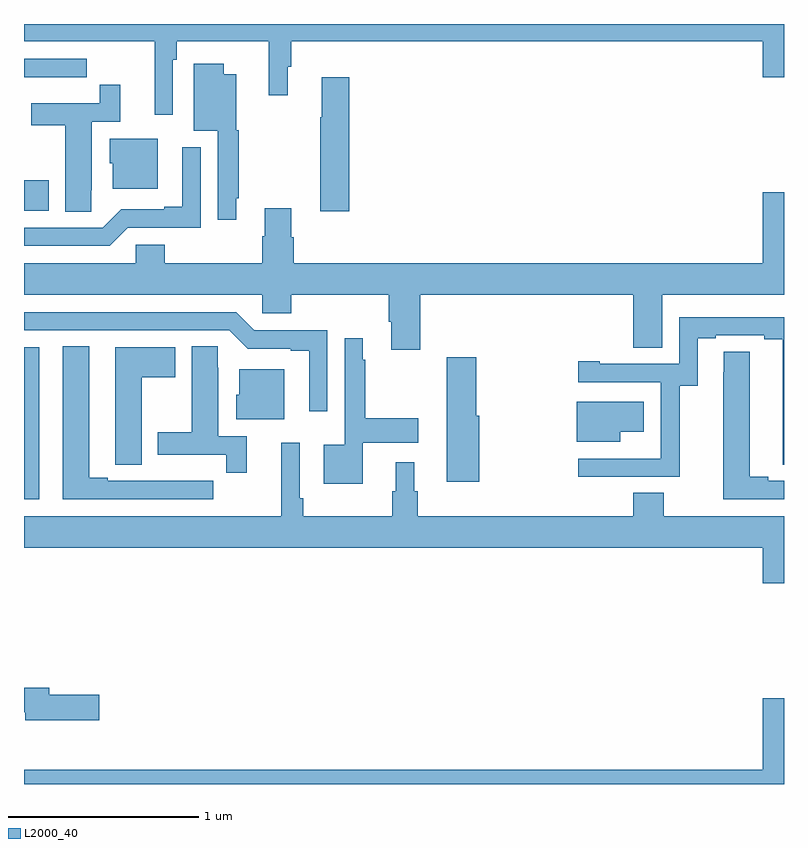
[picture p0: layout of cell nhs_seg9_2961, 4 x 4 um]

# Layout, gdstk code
import gdstk
lib = gdstk.Library(unit=1e-6, precision=1e-09)
def R(c, l, rs):  # rectangles x0, y0, x1, y1
    for r in rs: c.add(gdstk.rectangle(r[:2], r[2:], *l))
def P(c, l, *ps):  # polygons
    for p in ps: c.add(gdstk.Polygon(p, *l))
L2000_40 = (2000, 40)

nhs_seg9_2961 = lib.new_cell('nhs_seg9_2961')
R(nhs_seg9_2961, L2000_40, [(281,1206,281.08,1206.798), (281,1207.517,281.131,1207.677)])
P(nhs_seg9_2961, L2000_40, [(281.784,1208.312),(281.804,1208.312),(281.804,1208.408),(282.289,1208.408),(282.289,1208.124),(282.388,1208.124),(282.388,1208.274),(282.407,1208.274),(282.407,1208.408),(284.888,1208.408),(284.888,1208.22),(285,1208.22),(285,1208.5),(281,1208.5),(281,1208.408),(281.687,1208.408),(281.687,1208.022),(281.784,1208.022)],
  [(281.216,1208.22),(281.329,1208.22),(281.329,1208.316),(281,1208.316),(281,1208.22),(281.05,1208.22),(281.05,1208.219),(281.216,1208.219)],
  [(282.118,1207.582),(282.13,1207.582),(282.13,1207.941),(282.118,1207.941),(282.118,1208.236),(282.052,1208.236),(282.052,1208.29),(281.894,1208.29),(281.894,1207.937),(282.021,1207.937),(282.021,1207.47),(282.118,1207.47)],
  [(282.713,1208.221),(282.566,1208.221),(282.566,1208.008),(282.559,1208.008),(282.559,1207.515),(282.713,1207.515)],
  [(281.355,1207.624),(281.356,1207.624),(281.356,1207.986),(281.507,1207.986),(281.507,1208.179),(281.398,1208.179),(281.398,1208.082),(281.039,1208.082),(281.039,1207.966),(281.216,1207.966),(281.216,1207.513),(281.355,1207.513)],
  [(281.704,1207.897),(281.45,1207.897),(281.45,1207.767),(281.468,1207.767),(281.468,1207.634),(281.704,1207.634)],
  [(281.547,1207.428),(281.931,1207.428),(281.931,1207.852),(281.834,1207.852),(281.834,1207.537),(281.738,1207.537),(281.738,1207.524),(281.511,1207.524),(281.415,1207.428),(281,1207.428),(281,1207.332),(281.451,1207.332)],
  [(283.085,1207.076),(284.207,1207.076),(284.207,1206.796),(284.359,1206.796),(284.359,1207.076),(285,1207.076),(285,1207.615),(284.888,1207.615),(284.888,1207.24),(282.419,1207.24),(282.419,1207.377),(282.406,1207.377),(282.406,1207.531),(282.266,1207.531),(282.266,1207.382),(282.254,1207.382),(282.254,1207.24),(281.741,1207.24),(281.741,1207.338),(281.589,1207.338),(281.589,1207.24),(281,1207.24),(281,1207.076),(282.255,1207.076),(282.255,1206.978),(282.407,1206.978),(282.407,1207.076),(282.92,1207.076),(282.92,1206.934),(282.932,1206.934),(282.932,1206.786),(283.085,1206.786)],
  [(282.597,1206.888),(282.213,1206.888),(282.117,1206.984),(281,1206.984),(281,1206.888),(282.081,1206.888),(282.177,1206.792),(282.404,1206.792),(282.404,1206.78),(282.5,1206.78),(282.5,1206.462),(282.597,1206.462)],
  [(284.451,1206.595),(284.545,1206.595),(284.545,1206.846),(284.641,1206.846),(284.641,1206.861),(284.897,1206.861),(284.897,1206.841),(284.993,1206.841),(284.993,1206.181),(285,1206.181),(285,1206.957),(284.448,1206.957),(284.448,1206.711),(284.029,1206.711),(284.029,1206.724),(283.917,1206.724),(283.917,1206.615),(284.352,1206.615),(284.352,1206.214),(284.351,1206.214),(284.351,1206.213),(283.917,1206.213),(283.917,1206.117),(284.451,1206.117)],
  [(282.784,1206.296),(283.075,1206.296),(283.075,1206.426),(282.796,1206.426),(282.796,1206.734),(282.784,1206.734),(282.784,1206.847),(282.687,1206.847),(282.687,1206.286),(282.578,1206.286),(282.578,1206.08),(282.784,1206.08)],
  [(282.173,1206.33),(282.022,1206.33),(282.022,1206.692),(282.021,1206.692),(282.021,1206.803),(281.882,1206.803),(281.882,1206.351),(281.705,1206.351),(281.705,1206.234),(282.064,1206.234),(282.064,1206.138),(282.173,1206.138)],
  [(281.995,1206.096),(281.882,1206.096),(281.882,1206.097),(281.716,1206.097),(281.716,1206.096),(281.44,1206.096),(281.44,1206.111),(281.344,1206.111),(281.344,1206.803),(281.204,1206.803),(281.204,1206),(281.995,1206)],
  [(281.62,1206.64),(281.797,1206.64),(281.797,1206.799),(281.48,1206.799),(281.48,1206.289),(281.481,1206.289),(281.481,1206.181),(281.62,1206.181)],
  [(285,1206.096),(284.917,1206.096),(284.917,1206.116),(284.821,1206.116),(284.821,1206.776),(284.682,1206.776),(284.682,1206.668),(284.681,1206.668),(284.681,1206),(285,1206)],
  [(283.397,1206.438),(283.379,1206.438),(283.379,1206.745),(283.225,1206.745),(283.225,1206.438),(283.226,1206.438),(283.226,1206.09),(283.397,1206.09)],
  [(282.37,1206.682),(282.134,1206.682),(282.134,1206.549),(282.116,1206.549),(282.116,1206.419),(282.37,1206.419)],
  [(284.137,1206.353),(284.263,1206.353),(284.263,1206.511),(283.91,1206.511),(283.91,1206.302),(284.137,1206.302)],
  [(285,1205.908),(284.367,1205.908),(284.367,1206.032),(284.207,1206.032),(284.207,1205.908),(283.073,1205.908),(283.073,1206.042),(283.054,1206.042),(283.054,1206.193),(282.956,1206.193),(282.956,1206.042),(282.937,1206.042),(282.937,1205.908),(282.47,1205.908),(282.47,1206.004),(282.45,1206.004),(282.45,1206.295),(282.353,1206.295),(282.353,1205.908),(281,1205.908),(281,1205.744),(284.888,1205.744),(284.888,1205.556),(285,1205.556)],
  [(281.395,1204.97),(281.134,1204.97),(281.134,1205.006),(281,1205.006),(281,1204.878),(281.006,1204.878),(281.006,1204.835),(281.395,1204.835)],
  [(285,1204.951),(284.888,1204.951),(284.888,1204.576),(281,1204.576),(281,1204.5),(285,1204.5)])

lib.write_gds('nhs_seg9_2961.gds')
